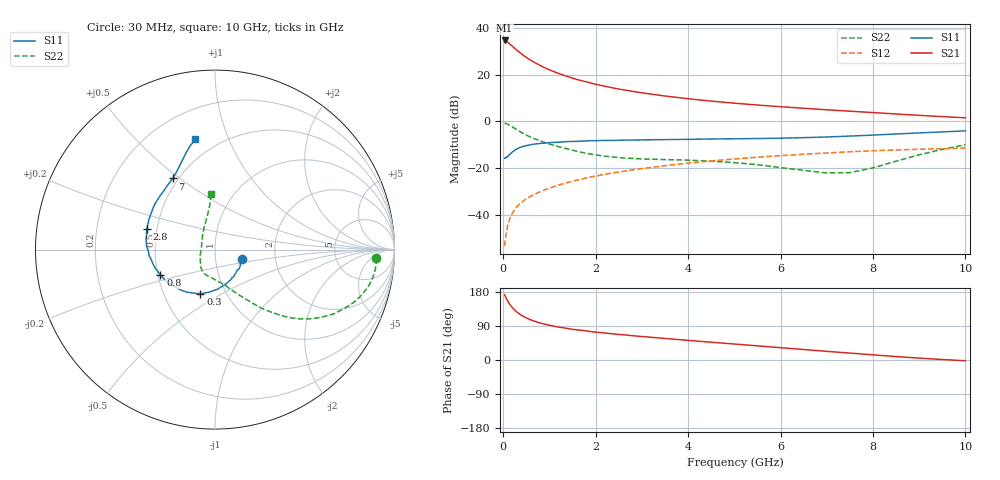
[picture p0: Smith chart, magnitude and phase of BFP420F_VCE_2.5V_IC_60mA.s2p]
! Infineon Technologies  Discrete & RF Semiconductors
! BFP420F
! VCE =  2.5 V,  IC =  60 mA
! Common Emitter S-Parameters:  Sep 2011
# GHz  S  MA  R  50
!  f  S11  S21  S12  S22
! GHz  MAG  ANG  MAG  ANG  MAG  ANG  MAG  ANG
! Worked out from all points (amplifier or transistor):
!   54 points, 30 MHz to 10 GHz, reference 50 ohm
!   highest |S21| = 34.7 dB at 30 MHz (marker M1)
!   |S21| within 3 dB of that: start of sweep to 225.9 MHz
!   unconditionally stable (mu >= 1): 1.13 GHz to end of sweep
!   at 120 MHz: K = 0.48, MSG = 38.3 dB, |S12| = -43.1 dB
!   at 1.3 GHz: K = 1.04, MAG = 22.1 dB, |S12| = -26.8 dB
!   at 10 GHz: K = 1.22, MAG = 3.6 dB, |S12| = -11.5 dB
!   S11 on the Smith chart (normalised r, x): 30 MHz: 1.35, -0.14; 300 MHz: 0.76, -0.40; 800 MHz: 0.52, -0.17; 2.8 GHz: 0.44, +0.12; 7 GHz: 0.47, +0.47; 10 GHz: 0.38, +0.76
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0.03  0.1612 -18.6  54.2 172.1  0.0021 88.9  0.8992 -3.1
0.05  0.1613 -27.9  52.98 166.7  0.0031 83.6  0.8999 -7.0
0.07  0.1718 -39.0  52.02 162.0  0.0044 83.8  0.8902 -10.7
0.08  0.169 -42.4  50.98 159.6  0.0048 84.1  0.8837 -12.4
0.1  0.1781 -52.7  49.62 155.1  0.006 82.7  0.8655 -15.6
0.13  0.1909 -63.5  46.57 149.1  0.0074 79.2  0.8342 -20.0
0.15  0.1989 -70.7  44.8 145.6  0.0085 78.6  0.8116 -22.5
0.2  0.2208 -86.0  40.48 138.1  0.0108 75.4  0.7563 -28.1
0.25  0.2404 -98.4  36.5 131.6  0.0128 74.4  0.7024 -32.5
0.3  0.2583 -108.4  33.27 126.2  0.015 72.4  0.6547 -36.1
0.4  0.2838 -123.5  27.65 117.6  0.0184 70.8  0.5727 -41.7
0.5  0.3006 -134.3  23.47 111.1  0.0217 69.8  0.5076 -45.6
0.6  0.3165 -142.9  20.23 105.7  0.0248 69.4  0.4554 -48.9
0.8  0.3358 -154.9  15.73 97.5  0.0309 69.2  0.3803 -53.9
1.2  0.3576 -169.5  10.57 86.8  0.0429 68.8  0.2854 -62.2
1.7  0.3759 179.2  7.4 78.2  0.0579 67.5  0.2159 -72.2
2.8  0.3956 163.0  4.391 64.1  0.091 62.7  0.1596 -96.0
3.5  0.4052 154.9  3.488 56.9  0.1117 59.0  0.1509 -107.5
5.5  0.4273 136.4  2.234 37.3  0.1698 46.2  0.1174 -133.9
7  0.4608 120.6  1.767 22.8  0.2094 35.8  0.0779 -177.8
8.5  0.5352 109.5  1.436 9.0  0.2434 24.7  0.1396 115.5
10  0.6241 100.1  1.189 -2.0  0.2662 15.3  0.3131 93.7
